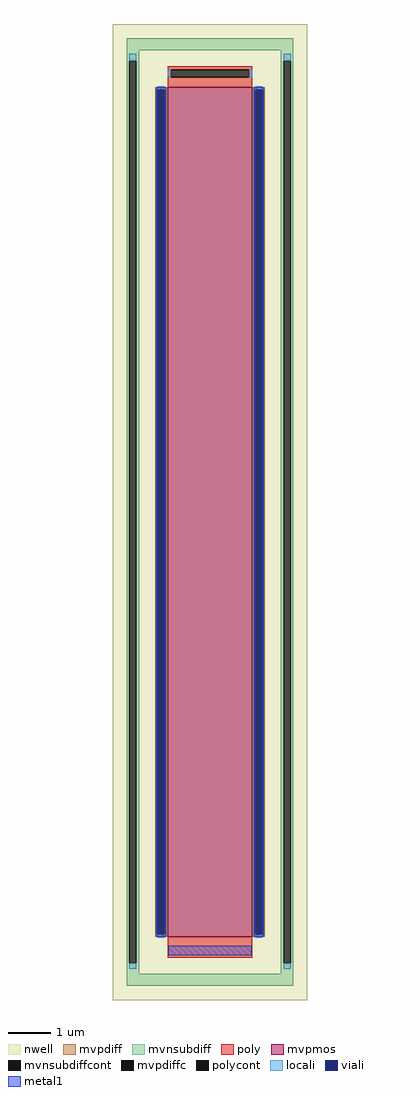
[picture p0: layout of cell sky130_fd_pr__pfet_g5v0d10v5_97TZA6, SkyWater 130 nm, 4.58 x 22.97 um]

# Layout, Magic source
magic
tech sky130A
magscale 1 2
<< nwell >>
rect -458 -2297 458 2297
<< mvpmos >>
rect -200 -2000 200 2000
<< mvpdiff >>
rect -258 1988 -200 2000
rect -258 -1988 -246 1988
rect -212 -1988 -200 1988
rect -258 -2000 -200 -1988
rect 200 1988 258 2000
rect 200 -1988 212 1988
rect 246 -1988 258 1988
rect 200 -2000 258 -1988
<< mvpdiffc >>
rect -246 -1988 -212 1988
rect 212 -1988 246 1988
<< mvnsubdiff >>
rect -392 2173 392 2231
rect -392 2123 -334 2173
rect -392 -2123 -380 2123
rect -346 -2123 -334 2123
rect 334 2123 392 2173
rect -392 -2173 -334 -2123
rect 334 -2123 346 2123
rect 380 -2123 392 2123
rect 334 -2173 392 -2123
rect -392 -2231 392 -2173
<< mvnsubdiffcont >>
rect -380 -2123 -346 2123
rect 346 -2123 380 2123
<< poly >>
rect -200 2081 200 2097
rect -200 2047 -184 2081
rect 184 2047 200 2081
rect -200 2000 200 2047
rect -200 -2097 200 -2000
<< polycont >>
rect -184 2047 184 2081
<< locali >>
rect -380 2123 -346 2157
rect 346 2123 380 2157
rect -200 2047 -184 2081
rect 184 2047 200 2081
rect -246 1988 -212 2004
rect -246 -2004 -212 -1988
rect 212 1988 246 2004
rect 212 -2004 246 -1988
rect -380 -2151 -346 -2123
rect 346 -2151 380 -2123
<< viali >>
rect -246 -1988 -212 1988
rect 212 -1988 246 1988
<< metal1 >>
rect -252 1988 -206 2000
rect -252 -1988 -246 1988
rect -212 -1988 -206 1988
rect -252 -2000 -206 -1988
rect 206 1988 252 2000
rect 206 -1988 212 1988
rect 246 -1988 252 1988
rect 206 -2000 252 -1988
rect -196 -2087 196 -2041
<< properties >>
string FIXED_BBOX -363 -2202 363 2202
string gencell sky130_fd_pr__pfet_g5v0d10v5
string library sky130
string parameters w 20.0 l 2.0 m 1 nf 1 diffcov 100 polycov 100 guard 1 glc 1 grc 1 gtc 1 gbc 1 tbcov 100 rlcov 100 topc 1 botc 1 poverlap 0 doverlap 1 lmin 0.50 wmin 0.42 compatible {sky130_fd_pr__pfet_01v8  sky130_fd_pr__pfet_01v8_lvt sky130_fd_pr__pfet_01v8_hvt  sky130_fd_pr__pfet_g5v0d10v5} full_metal 1 viasrc 100 viadrn 100 viagate 100 viagb 0 viagr 0 viagl 0 viagt 0
<< end >>
